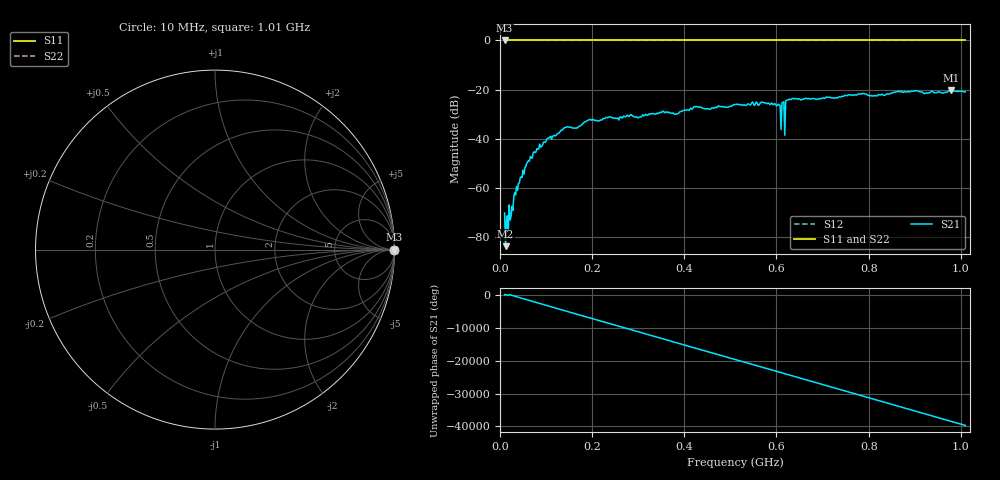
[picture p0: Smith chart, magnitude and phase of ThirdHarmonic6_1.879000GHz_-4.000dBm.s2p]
! 8/16/2025 10:42:00 PM
! C:\ANRITSUVNA\TEMP\TEMP.S2P
! CHANNEL.1
! TR.MEASUREMENT
! RAW.DATA
! RF.CORRECTION.OFF
! AVERAGING.OFF
! IF.BANDWIDTH: 5KHZ
! SWEEPTYPE:  FREQ.SWEEP(Linear)
! Reference Plane Port Info
! PORT:  PORT1  PORT2
! DISTANCE:  0  m  0  m
! TIME:  0  s  0  s
! PHASE.OFFSET:  0  deg.  0  deg.
! LOSS:  0  dB  0  dB
! REF.LOSS:  0  dB  0  dB
! REF.FREQ:  0  Hz  0  Hz
! Power Info
! POWER:  -20  dBm  -20  dBm
! EFF.POWER:  -20  dBm  -20  dBm
! SOURCE.ATTEN:  0  dB  0  dB
! TEST.ATTEN:  0  dB  0  dB
# GHZ S RI R 50.0
! FREQ.GHZ  S11RE  S11IM  S21RE  S21IM  S12RE  S12IM  S22RE  S22IM
!; PortSelection: Port_12
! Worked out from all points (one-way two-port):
!   501 points, 10 MHz to 1.01 GHz, reference 50 ohm
!   highest |S21| = -20.32 dB at 978 MHz (marker M1); lowest = -83.6 dB at 12 MHz (marker M2)
!   lowest |S11| = 0.0 dB at 10 MHz (marker M3)
!   |S11| at or under -10 dB: nowhere
!   |S22| runs from 0.0 to 0.0 dB; largest |S21 - S12| = 1.1
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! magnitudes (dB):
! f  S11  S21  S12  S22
! 10 MHz  0.0  -70.1  0.0  0.0
! 12 MHz  0.0  -83.6  0.0  0.0
! 14 MHz  0.0  -73.6  0.0  0.0
! 22 MHz  0.0  -73.0  0.0  0.0
! 34 MHz  0.0  -62.7  0.0  0.0
! 58 MHz  0.0  -49.9  0.0  0.0
! 76 MHz  0.0  -45.5  0.0  0.0
! 142 MHz  0.0  -35.3  0.0  0.0
! 178 MHz  0.0  -34.1  0.0  0.0
! 196 MHz  0.0  -32.2  0.0  0.0
! 344 MHz  0.0  -29.7  0.0  0.0
! 510 MHz  0.0  -26.0  0.0  0.0
! 594 MHz  0.0  -26.0  0.0  0.0
! 612 MHz  0.0  -25.3  0.0  0.0
! 614 MHz  0.0  -25.2  0.0  0.0
! 616 MHz  0.0  -24.9  0.0  0.0
! 622 MHz  0.0  -24.3  0.0  0.0
! 624 MHz  0.0  -24.2  0.0  0.0
! 678 MHz  0.0  -23.6  0.0  0.0
! 844 MHz  0.0  -21.8  0.0  0.0
! 978 MHz  0.0  -20.3  0.0  0.0
! 1.01 GHz  0.0  -20.8  0.0  0.0
